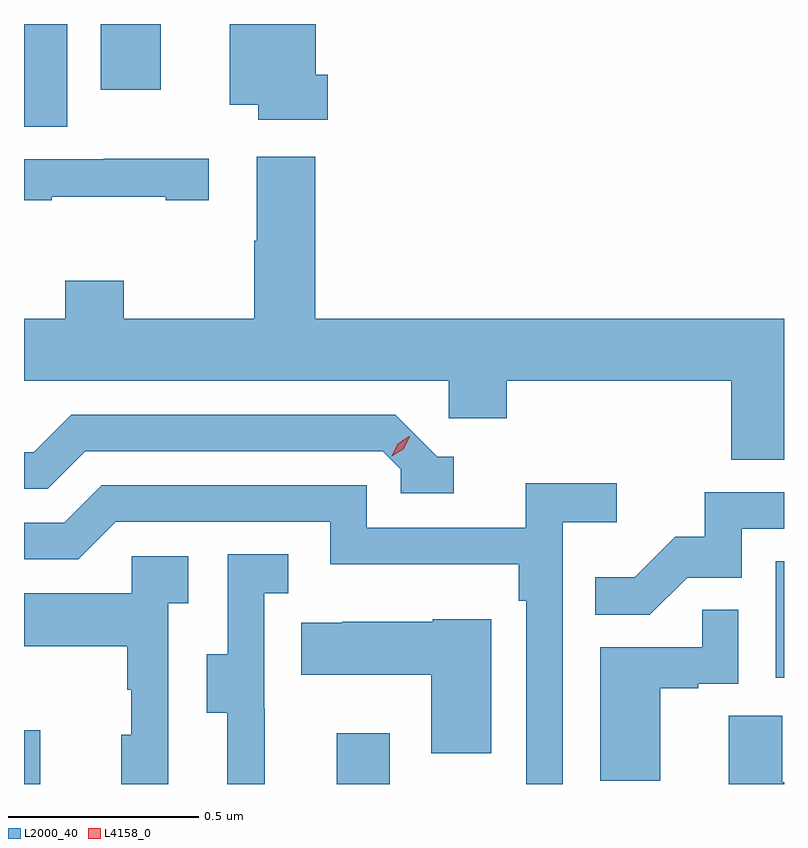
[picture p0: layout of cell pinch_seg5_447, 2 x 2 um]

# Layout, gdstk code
import gdstk
lib = gdstk.Library(unit=1e-6, precision=1e-09)
def R(c, l, rs):  # rectangles x0, y0, x1, y1
    for r in rs: c.add(gdstk.rectangle(r[:2], r[2:], *l))
def P(c, l, *ps):  # polygons
    for p in ps: c.add(gdstk.Polygon(p, *l))
L2000_40 = (2000, 40)
L4158_0 = (4158, 0)

pinch_seg5_447 = lib.new_cell('pinch_seg5_447')
R(pinch_seg5_447, L2000_40, [(889.99,870.351,890.033,870.493), (890.813,870.351,890.953,870.484), (891.968,870.63,891.99,870.937), (889.99,872.08,890.104,872.351), (890.192,872.178,890.35,872.351)])
P(pinch_seg5_447, L2000_40, [(890.789,872.217),(890.758,872.217),(890.758,872.35),(890.531,872.35),(890.531,872.138),(890.606,872.138),(890.606,872.099),(890.789,872.099)],
  [(891.99,871.576),(890.756,871.576),(890.756,872.002),(890.603,872.002),(890.603,871.781),(890.596,871.781),(890.596,871.576),(890.253,871.576),(890.253,871.675),(890.098,871.675),(890.098,871.576),(889.99,871.576),(889.99,871.412),(891.108,871.412),(891.108,871.314),(891.26,871.314),(891.26,871.412),(891.851,871.412),(891.851,871.204),(891.99,871.204)],
  [(890.063,871.897),(890.363,871.897),(890.363,871.887),(890.476,871.887),(890.476,871.997),(890.2,871.997),(890.2,871.995),(889.99,871.995),(889.99,871.887),(890.063,871.887)],
  [(891.121,871.212),(891.078,871.212),(890.967,871.323),(890.114,871.323),(890.015,871.224),(889.99,871.224),(889.99,871.128),(890.052,871.128),(890.151,871.227),(890.934,871.227),(890.982,871.179),(890.982,871.116),(891.121,871.116)],
  [(891.408,871.04),(891.55,871.04),(891.55,871.142),(891.311,871.142),(891.311,871.026),(890.892,871.026),(890.892,871.137),(890.195,871.137),(890.096,871.038),(889.99,871.038),(889.99,870.942),(890.133,870.942),(890.232,871.041),(890.796,871.041),(890.796,870.929),(891.292,870.929),(891.292,870.833),(891.312,870.833),(891.312,870.351),(891.408,870.351)],
  [(891.735,870.894),(891.879,870.894),(891.879,871.023),(891.99,871.023),(891.99,871.119),(891.781,871.119),(891.781,871.002),(891.704,871.002),(891.597,870.895),(891.493,870.895),(891.493,870.796),(891.637,870.796)],
  [(890.624,870.549),(890.622,870.549),(890.622,870.853),(890.686,870.853),(890.686,870.956),(890.526,870.956),(890.526,870.693),(890.471,870.693),(890.471,870.538),(890.525,870.538),(890.525,870.351),(890.624,870.351)],
  [(890.37,870.827),(890.422,870.827),(890.422,870.951),(890.274,870.951),(890.274,870.853),(889.99,870.853),(889.99,870.713),(890.262,870.713),(890.262,870.599),(890.272,870.599),(890.272,870.48),(890.246,870.48),(890.246,870.351),(890.37,870.351)],
  [(891.664,870.603),(891.764,870.603),(891.764,870.615),(891.87,870.615),(891.87,870.809),(891.775,870.809),(891.775,870.711),(891.506,870.711),(891.506,870.36),(891.664,870.36)],
  [(891.22,870.784),(891.066,870.784),(891.066,870.778),(890.827,870.778),(890.827,870.775),(890.719,870.775),(890.719,870.638),(891.062,870.638),(891.062,870.432),(891.22,870.432)],
  [(891.99,870.356),(891.985,870.356),(891.985,870.53),(891.845,870.53),(891.845,870.351),(891.99,870.351)])
P(pinch_seg5_447, L4158_0, [(890.958,871.213),(890.958,871.213),(890.974,871.246),(891.004,871.266),(891.005,871.266),(891.005,871.266),(890.989,871.233),(890.958,871.213)])

lib.write_gds('pinch_seg5_447.gds')
